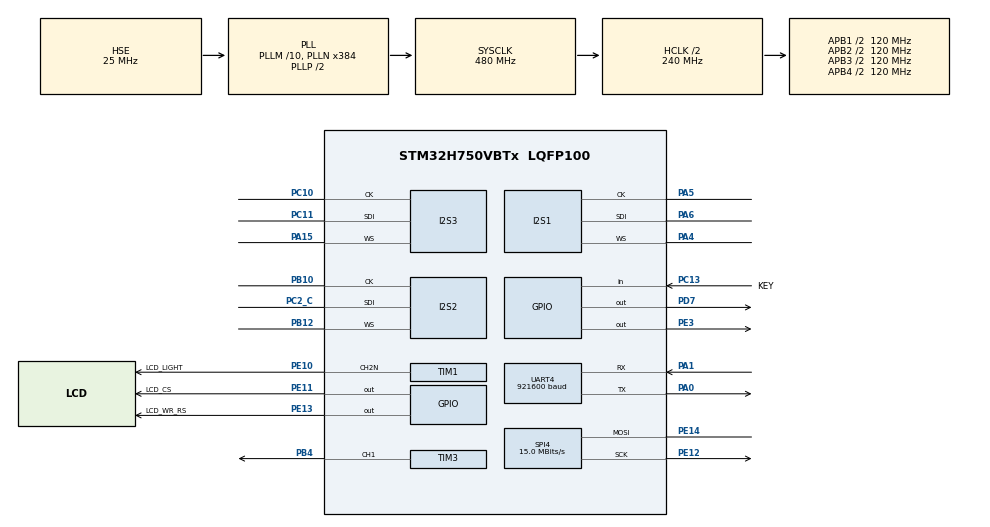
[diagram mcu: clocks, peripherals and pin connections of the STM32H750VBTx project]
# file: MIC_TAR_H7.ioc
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Dma.Request0=SPI1_RX
Dma.Request1=SPI2_RX
Dma.Request2=SPI3_RX
Dma.SPI1_RX.0.Direction=DMA_PERIPH_TO_MEMORY
Dma.SPI1_RX.0.EventEnable=DISABLE
Dma.SPI1_RX.0.FIFOMode=DMA_FIFOMODE_ENABLE
Dma.SPI1_RX.0.FIFOThreshold=DMA_FIFO_THRESHOLD_FULL
Dma.SPI1_RX.0.Instance=DMA1_Stream0
Dma.SPI1_RX.0.MemBurst=DMA_MBURST_SINGLE
Dma.SPI1_RX.0.MemDataAlignment=DMA_MDATAALIGN_WORD
Dma.SPI1_RX.0.MemInc=DMA_MINC_ENABLE
Dma.SPI1_RX.0.Mode=DMA_CIRCULAR
Dma.SPI1_RX.0.PeriphBurst=DMA_PBURST_SINGLE
Dma.SPI1_RX.0.PeriphDataAlignment=DMA_PDATAALIGN_WORD
Dma.SPI1_RX.0.PeriphInc=DMA_PINC_DISABLE
Dma.SPI1_RX.0.Polarity=HAL_DMAMUX_REQ_GEN_RISING
Dma.SPI1_RX.0.Priority=DMA_PRIORITY_VERY_HIGH
Dma.SPI1_RX.0.RequestNumber=1
Dma.SPI1_RX.0.SignalID=NONE
Dma.SPI1_RX.0.SyncEnable=DISABLE
Dma.SPI1_RX.0.SyncPolarity=HAL_DMAMUX_SYNC_NO_EVENT
Dma.SPI1_RX.0.SyncRequestNumber=1
Dma.SPI1_RX.0.SyncSignalID=NONE
Dma.SPI2_RX.1.Direction=DMA_PERIPH_TO_MEMORY
Dma.SPI2_RX.1.EventEnable=DISABLE
Dma.SPI2_RX.1.FIFOMode=DMA_FIFOMODE_ENABLE
Dma.SPI2_RX.1.FIFOThreshold=DMA_FIFO_THRESHOLD_FULL
Dma.SPI2_RX.1.Instance=DMA1_Stream1
Dma.SPI2_RX.1.MemBurst=DMA_MBURST_SINGLE
Dma.SPI2_RX.1.MemDataAlignment=DMA_MDATAALIGN_WORD
Dma.SPI2_RX.1.MemInc=DMA_MINC_ENABLE
Dma.SPI2_RX.1.Mode=DMA_CIRCULAR
Dma.SPI2_RX.1.PeriphBurst=DMA_PBURST_SINGLE
Dma.SPI2_RX.1.PeriphDataAlignment=DMA_PDATAALIGN_WORD
Dma.SPI2_RX.1.PeriphInc=DMA_PINC_DISABLE
Dma.SPI2_RX.1.Polarity=HAL_DMAMUX_REQ_GEN_RISING
Dma.SPI2_RX.1.Priority=DMA_PRIORITY_VERY_HIGH
Dma.SPI2_RX.1.RequestNumber=1
Dma.SPI2_RX.1.SignalID=NONE
Dma.SPI2_RX.1.SyncEnable=DISABLE
Dma.SPI2_RX.1.SyncPolarity=HAL_DMAMUX_SYNC_NO_EVENT
Dma.SPI2_RX.1.SyncRequestNumber=1
Dma.SPI2_RX.1.SyncSignalID=NONE
Dma.SPI3_RX.2.Direction=DMA_PERIPH_TO_MEMORY
Dma.SPI3_RX.2.EventEnable=DISABLE
Dma.SPI3_RX.2.FIFOMode=DMA_FIFOMODE_ENABLE
Dma.SPI3_RX.2.FIFOThreshold=DMA_FIFO_THRESHOLD_FULL
Dma.SPI3_RX.2.Instance=DMA1_Stream2
Dma.SPI3_RX.2.MemBurst=DMA_MBURST_SINGLE
Dma.SPI3_RX.2.MemDataAlignment=DMA_MDATAALIGN_WORD
Dma.SPI3_RX.2.MemInc=DMA_MINC_ENABLE
Dma.SPI3_RX.2.Mode=DMA_CIRCULAR
Dma.SPI3_RX.2.PeriphBurst=DMA_PBURST_SINGLE
Dma.SPI3_RX.2.PeriphDataAlignment=DMA_PDATAALIGN_WORD
Dma.SPI3_RX.2.PeriphInc=DMA_PINC_DISABLE
Dma.SPI3_RX.2.Polarity=HAL_DMAMUX_REQ_GEN_RISING
Dma.SPI3_RX.2.Priority=DMA_PRIORITY_VERY_HIGH
Dma.SPI3_RX.2.RequestNumber=1
Dma.SPI3_RX.2.SignalID=NONE
Dma.SPI3_RX.2.SyncEnable=DISABLE
Dma.SPI3_RX.2.SyncPolarity=HAL_DMAMUX_SYNC_NO_EVENT
Dma.SPI3_RX.2.SyncRequestNumber=1
Dma.SPI3_RX.2.SyncSignalID=NONE
I2S1.AudioFreq=I2S_AUDIOFREQ_16K
I2S1.Data24BitAlignment=I2S_DATA_24BIT_ALIGNMENT_RIGHT
I2S1.DataFormat=I2S_DATAFORMAT_24B
I2S1.ErrorAudioFreq=0.15 %
I2S1.Instance=SPI$Index
I2S1.MasterKeepIOState=I2S_MASTER_KEEP_IO_STATE_ENABLE
I2S1.RealAudioFreq=16.025 KHz
I2S1.Standard=I2S_STANDARD_PHILIPS
I2S2.AudioFreq=I2S_AUDIOFREQ_16K
I2S2.DataFormat=I2S_DATAFORMAT_24B
I2S2.ErrorAudioFreq=0.15 %
I2S2.Instance=SPI$Index
I2S2.MasterKeepIOState=I2S_MASTER_KEEP_IO_STATE_ENABLE
I2S2.RealAudioFreq=16.025 KHz
I2S3.AudioFreq=I2S_AUDIOFREQ_16K
I2S3.DataFormat=I2S_DATAFORMAT_24B
I2S3.ErrorAudioFreq=0.15 %
I2S3.Instance=SPI$Index
I2S3.MasterKeepIOState=I2S_MASTER_KEEP_IO_STATE_ENABLE
I2S3.RealAudioFreq=16.025 KHz
Mcu.Family=STM32H7
Mcu.Name=STM32H750VBTx
Mcu.Package=LQFP100
NVIC.DMA1_Stream0_IRQn=true\:2\:0\:true\:false\:true\:false\:true\:true
NVIC.DMA1_Stream1_IRQn=true\:2\:0\:true\:false\:true\:false\:true\:true
NVIC.DMA1_Stream2_IRQn=true\:2\:0\:true\:false\:true\:false\:true\:true
NVIC.PriorityGroup=NVIC_PRIORITYGROUP_3
NVIC.SPI1_IRQn=true\:1\:0\:true\:false\:true\:true\:true\:true
NVIC.SPI2_IRQn=true\:1\:0\:true\:false\:true\:true\:true\:true
NVIC.SPI3_IRQn=true\:1\:0\:true\:false\:true\:true\:true\:true
PA0.Mode=Asynchronous
PA0.Signal=UART4_TX
PA1.Mode=Asynchronous
PA1.Signal=UART4_RX
PA13\ (JTMS/SWDIO).Mode=Serial_Wire
PA13\ (JTMS/SWDIO).Signal=DEBUG_JTMS-SWDIO
PA14\ (JTCK/SWCLK).Mode=Serial_Wire
PA14\ (JTCK/SWCLK).Signal=DEBUG_JTCK-SWCLK
PA15\ (JTDI).GPIO_Speed=GPIO_SPEED_FREQ_VERY_HIGH
PA15\ (JTDI).Mode=Half_Duplex_Master_Rx
PA15\ (JTDI).Signal=I2S3_WS
PA4.GPIO_Speed=GPIO_SPEED_FREQ_VERY_HIGH
PA4.Mode=Half_Duplex_Master_Rx
PA4.Signal=I2S1_WS
PA5.GPIO_Mode=GPIO_MODE_AF_PP
PA5.GPIO_Speed=GPIO_SPEED_FREQ_VERY_HIGH
PA5.Mode=Half_Duplex_Master_Rx
PA5.Signal=I2S1_CK
PA6.GPIO_PuPd=GPIO_PULLDOWN
PA6.GPIO_Speed=GPIO_SPEED_FREQ_VERY_HIGH
PA6.Mode=Half_Duplex_Master_Rx
PA6.Signal=I2S1_SDI
PB10.GPIO_Speed=GPIO_SPEED_FREQ_VERY_HIGH
PB10.Mode=Half_Duplex_Master_Rx
PB10.Signal=I2S2_CK
PB12.GPIO_Speed=GPIO_SPEED_FREQ_VERY_HIGH
PB12.Mode=Half_Duplex_Master_Rx
PB12.Signal=I2S2_WS
PB4\ (NJTRST).Signal=S_TIM3_CH1
PC10.GPIO_Speed=GPIO_SPEED_FREQ_VERY_HIGH
PC10.Mode=Half_Duplex_Master_Rx
PC10.Signal=I2S3_CK
PC11.GPIO_PuPd=GPIO_PULLDOWN
PC11.GPIO_Speed=GPIO_SPEED_FREQ_VERY_HIGH
PC11.Mode=Half_Duplex_Master_Rx
PC11.Signal=I2S3_SDI
PC13.GPIO_Label=KEY
PC13.GPIO_PuPd=GPIO_PULLDOWN
PC13.Signal=GPIO_Input
PC14-OSC32_IN\ (OSC32_IN).Mode=LSE-External-Oscillator
PC14-OSC32_IN\ (OSC32_IN).Signal=RCC_OSC32_IN
PC15-OSC32_OUT\ (OSC32_OUT).Mode=LSE-External-Oscillator
PC15-OSC32_OUT\ (OSC32_OUT).Signal=RCC_OSC32_OUT
PC2_C.GPIO_PuPd=GPIO_PULLDOWN
PC2_C.GPIO_Speed=GPIO_SPEED_FREQ_VERY_HIGH
PC2_C.Mode=Half_Duplex_Master_Rx
PC2_C.Signal=I2S2_SDI
PD7.Signal=GPIO_Output
PE10.GPIO_Label=LCD_LIGHT
PE10.Mode=PWM Generation2 CH2N
PE10.Signal=TIM1_CH2N
PE11.GPIO_Label=LCD_CS
PE11.GPIO_Speed=GPIO_SPEED_FREQ_VERY_HIGH
PE11.PinState=GPIO_PIN_SET
PE11.Signal=GPIO_Output
PE12.Mode=Simplex_Bidirectional_Master
PE12.Signal=SPI4_SCK
PE13.GPIO_Label=LCD_WR_RS
PE13.GPIO_Speed=GPIO_SPEED_FREQ_VERY_HIGH
PE13.PinState=GPIO_PIN_SET
PE13.Signal=GPIO_Output
PE14.Mode=Simplex_Bidirectional_Master
PE14.Signal=SPI4_MOSI
PE3.Signal=GPIO_Output
PH0-OSC_IN\ (PH0).Mode=HSE-External-Oscillator
PH0-OSC_IN\ (PH0).Signal=RCC_OSC_IN
PH1-OSC_OUT\ (PH1).Mode=HSE-External-Oscillator
PH1-OSC_OUT\ (PH1).Signal=RCC_OSC_OUT
ProjectManager.HeapSize=0x200
ProjectManager.StackSize=0x400
ProjectManager.TargetToolchain=STM32CubeIDE
RCC.ADCFreq_Value=160000000
RCC.APB1Freq_Value=120000000
RCC.APB2Freq_Value=120000000
RCC.APB3Freq_Value=120000000
RCC.APB4Freq_Value=120000000
RCC.CortexFreq_Value=480000000
RCC.D1PPRE=RCC_APB3_DIV2
RCC.D2PPRE1=RCC_APB1_DIV2
RCC.D2PPRE2=RCC_APB2_DIV2
RCC.D3PPRE=RCC_APB4_DIV2
RCC.DIVM1=10
RCC.DIVM2=10
RCC.DIVM3=5
RCC.DIVN1=384
RCC.DIVN2=128
RCC.DIVN3=64
RCC.DIVQ1=5
RCC.DIVR3=5
RCC.EnbaleCSS=true
RCC.HCLKFreq_Value=240000000
RCC.HPRE=RCC_HCLK_DIV2
RCC.LPTIM1CLockSelection=RCC_LPTIM1CLKSOURCE_CLKP
RCC.PLL1_VCO_SEL=RCC_PLL1VCOWIDE
RCC.PLL1_VCO_SEL-AdvancedSettings=RCC_PLL1VCOMEDIUM
RCC.PLL2FRACN=0
RCC.PLL3FRACN=0
RCC.PLL3_VCI_Range-AdvancedSettings=RCC_PLL3VCIRANGE_0
RCC.PLLFRACN=0
RCC.PLLSourceVirtual=RCC_PLLSOURCE_HSE
RCC.SPI123CLockSelection=RCC_SPI123CLKSOURCE_PLL2
RCC.SYSCLKFreq_VALUE=480000000
RCC.SYSCLKSource=RCC_SYSCLKSOURCE_PLLCLK
RCC.USBFreq_Value=192000000
SH.S_TIM3_CH1.0=TIM3_CH1,PWM Generation1 CH1
SPI4.BaudRatePrescaler=SPI_BAUDRATEPRESCALER_8
SPI4.CalculateBaudRate=15.0 MBits/s
SPI4.DataSize=SPI_DATASIZE_8BIT
SPI4.Direction=SPI_DIRECTION_1LINE
SPI4.Mode=SPI_MODE_MASTER
SPI4.VirtualType=VM_MASTER
TIM1.Channel-PWM\ Generation2\ CH2N=TIM_CHANNEL_2
TIM1.OCNPolarity_2=TIM_OCNPOLARITY_LOW
TIM1.Period=1000-1
TIM1.Prescaler=24-1
TIM3.AutoReloadPreload=TIM_AUTORELOAD_PRELOAD_ENABLE
TIM3.Channel-PWM\ Generation1\ CH1=TIM_CHANNEL_1
TIM3.Period=5000-1
TIM3.Prescaler=240-1
TIM3.Pulse-PWM\ Generation1\ CH1=2500-1
UART4.BaudRate=921600
UART4.Mode=MODE_TX_RX
VP_TIM1_VS_ClockSourceINT.Mode=Internal
VP_TIM3_VS_ClockSourceINT.Mode=Internal
board=custom

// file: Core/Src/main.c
/* USER CODE BEGIN Header */
/**
  ******************************************************************************
  * @file           : main.c
  * @brief          : Main program body
  ******************************************************************************
  * @attention
  *
  * Copyright (c) 2022 STMicroelectronics.
  * All rights reserved.
  *
  * This software is licensed under terms that can be found in the LICENSE file
  * in the root directory of this software component.
  * If no LICENSE file comes with this software, it is provided AS-IS.
  *
  ******************************************************************************
  */
/* USER CODE END Header */
#include "main.h"
#include "dma.h"
#include "i2s.h"
#include "spi.h"
#include "tim.h"
#include "usart.h"
#include "gpio.h"

/* USER CODE BEGIN Includes */
#include "lcd.h"
/* USER CODE END Includes */

/* USER CODE BEGIN PD */
#define MAX_DATA_NUM 32

/* USER CODE END PD */

/* USER CODE BEGIN PV */
  uint32_t hi2s1_Data[2]={0};
  uint32_t hi2s2_Data[2]={0};
  uint32_t hi2s3_Data[2]={0};

  int32_t hi2s_Data_s[6][32]={0};

  uint8_t Times[3]={0};
  float_t Servo=90.0;

/* USER CODE END PV */

void SystemClock_Config(void);
void PeriphCommonClock_Config(void);

/* USER CODE BEGIN 0 */
/*
 * 重写printf
 */
#ifdef __GNUC__
#define PUTCHAR_PROTOTYPE int __io_putchar(int ch)
#else
#define PUTCHAR_PROTOTYPE int fputc(int ch, FILE *f)
#endif

PUTCHAR_PROTOTYPE
{
	HAL_UART_Transmit(&huart4, (uint8_t*)&ch,1,HAL_MAX_DELAY);
    return ch;
}
/*
 * 重写printf
 */

void HAL_I2S_RxCpltCallback(I2S_HandleTypeDef *hi2s)
{

	if(hi2s==&hi2s1){
		//10 0
		//11 1
		if(hi2s1_Data[0] & 0x800000){//negative
			hi2s_Data_s[0][Times[0]]=(0xff000000 | hi2s1_Data[0]);
		}else{//positive
			hi2s_Data_s[0][Times[0]]=0x00ffffff & hi2s1_Data[0];
		}

		if(hi2s1_Data[1] & 0x800000){//negative
			hi2s_Data_s[1][Times[0]]=0xff000000 | hi2s1_Data[1];
		}else{//positive
			hi2s_Data_s[1][Times[0]]=0x00ffffff & hi2s1_Data[1];
		}
		printf("%d",&hi2s_Data_s[1][Times[0]]);
		Times[0]++;
		}

	else if(hi2s==&hi2s2){
		//10 0
		//11 1
		if(hi2s2_Data[0] & 0x800000){//negative
			hi2s_Data_s[2][Times[1]]=0xff000000 | hi2s2_Data[0];
		}else{//positive
			hi2s_Data_s[2][Times[1]]=0x00ffffff & hi2s2_Data[0];
		}

		if(hi2s2_Data[1] & 0x800000){//negative
			hi2s_Data_s[3][Times[1]]=0xff000000 | hi2s2_Data[1];
		}else{//positive
			hi2s_Data_s[3][Times[1]]=0x00ffffff & hi2s2_Data[1];
		}
		printf("%d",&hi2s_Data_s[2][Times[1]]);
		Times[1]++;
		}

	else if(hi2s==&hi2s3){
		//10 0
		//11 1
		if(hi2s3_Data[0] & 0x800000){//negative
			hi2s_Data_s[4][Times[2]]=0xff000000 | hi2s3_Data[0];
		}else{//positive
			hi2s_Data_s[4][Times[2]]=0x00ffffff & hi2s3_Data[0];
		}

		if(hi2s3_Data[1] & 0x800000){//negative
			hi2s_Data_s[5][Times[2]]=0xff000000 | hi2s3_Data[1];
		}else{//positive
			hi2s_Data_s[5][Times[2]]=0x00ffffff & hi2s3_Data[1];
		}
		printf("%d,%d\r\n",&hi2s_Data_s[4][Times[2]],&hi2s_Data_s[5][Times[2]]);

		Times[2]++;
		}

	if((Times[0]==MAX_DATA_NUM)&&(Times[1]==MAX_DATA_NUM)&&(Times[2]==MAX_DATA_NUM))
	{
		HAL_GPIO_TogglePin(GPIOE, GPIO_PIN_3);
		Times[0]=0;
		Times[1]=0;
		Times[2]=0;

	}

}

void Servo_con(float_t angel)
{
	if(angel<=180&&angel>=0)
	{
		TIM3->CCR1=500+angel/180.0*2000.0;
	}

}
/* USER CODE END 0 */

int main(void)
{

  /* MCU Configuration--------------------------------------------------------*/

  /* Reset of all peripherals, Initializes the Flash interface and the Systick. */
  HAL_Init();

  /* Configure the system clock */
  SystemClock_Config();

/* Configure the peripherals common clocks */
  PeriphCommonClock_Config();

  /* Initialize all configured peripherals */
  MX_GPIO_Init();
  MX_SPI4_Init();
  MX_DMA_Init();
  MX_I2S1_Init();
  MX_I2S2_Init();
  MX_TIM1_Init();
  MX_TIM3_Init();
  MX_UART4_Init();
  MX_I2S3_Init();
  /* USER CODE BEGIN 2 */
  HAL_TIM_PWM_Start(&htim3,TIM_CHANNEL_1);

  uint32_t PWM=TIM3->CCR1;
  uint8_t  Pos_Neg=1;

  /* USER CODE END 2 */

  /* Infinite loop */
  /* USER CODE BEGIN WHILE */
  LCD_Test();
//  uint8_t text[20]={0};

  HAL_I2S_Receive_DMA(&hi2s1, (uint16_t*)hi2s1_Data,&hi2s2, (uint16_t*)hi2s2_Data,&hi2s3, (uint16_t*)hi2s3_Data,MAX_DATA_NUM);
  uint32_t tick = HAL_GetTick();
  while (1)
  {
    /* USER CODE END WHILE */

    /* USER CODE BEGIN 3 */

	  if(HAL_GPIO_ReadPin(KEY_GPIO_Port, KEY_Pin) == GPIO_PIN_SET)
		{
			HAL_GPIO_TogglePin(GPIOD, GPIO_PIN_7);
		}
//		while (HAL_GPIO_ReadPin(KEY_GPIO_Port, KEY_Pin) == GPIO_PIN_SET)
//		{
//			delay_ms(10);
//		}

	  Servo_con(Servo);

//		sprintf((char *)&text, "%8d", hi2s1_Data[0]);
//		LCD_ShowString(4, 58, 256, 16, 16, text);
//		printf("%lu,%lu\r\n",hi2s1_Data[0],hi2s1_Data[1]);

  }
  /* USER CODE END 3 */
}

void SystemClock_Config(void)
{
  RCC_OscInitTypeDef RCC_OscInitStruct = {0};
  RCC_ClkInitTypeDef RCC_ClkInitStruct = {0};

  /** Supply configuration update enable
  */
  HAL_PWREx_ConfigSupply(PWR_LDO_SUPPLY);

  /** Configure the main internal regulator output voltage
  */
  __HAL_PWR_VOLTAGESCALING_CONFIG(PWR_REGULATOR_VOLTAGE_SCALE1);

  while(!__HAL_PWR_GET_FLAG(PWR_FLAG_VOSRDY)) {}

  __HAL_RCC_SYSCFG_CLK_ENABLE();
  __HAL_PWR_VOLTAGESCALING_CONFIG(PWR_REGULATOR_VOLTAGE_SCALE0);

  while(!__HAL_PWR_GET_FLAG(PWR_FLAG_VOSRDY)) {}

  /** Macro to configure the PLL clock source
  */
  __HAL_RCC_PLL_PLLSOURCE_CONFIG(RCC_PLLSOURCE_HSE);

  /** Initializes the RCC Oscillators according to the specified parameters
  * in the RCC_OscInitTypeDef structure.
  */
  RCC_OscInitStruct.OscillatorType = RCC_OSCILLATORTYPE_HSE;
  RCC_OscInitStruct.HSEState = RCC_HSE_ON;
  RCC_OscInitStruct.PLL.PLLState = RCC_PLL_ON;
  RCC_OscInitStruct.PLL.PLLSource = RCC_PLLSOURCE_HSE;
  RCC_OscInitStruct.PLL.PLLM = 10;
  RCC_OscInitStruct.PLL.PLLN = 384;
  RCC_OscInitStruct.PLL.PLLP = 2;
  RCC_OscInitStruct.PLL.PLLQ = 5;
  RCC_OscInitStruct.PLL.PLLR = 2;
  RCC_OscInitStruct.PLL.PLLRGE = RCC_PLL1VCIRANGE_1;
  RCC_OscInitStruct.PLL.PLLVCOSEL = RCC_PLL1VCOWIDE;
  RCC_OscInitStruct.PLL.PLLFRACN = 0;
  if (HAL_RCC_OscConfig(&RCC_OscInitStruct) != HAL_OK)
  {
    Error_Handler();
  }

  /** Initializes the CPU, AHB and APB buses clocks
  */
  RCC_ClkInitStruct.ClockType = RCC_CLOCKTYPE_HCLK|RCC_CLOCKTYPE_SYSCLK
                              |RCC_CLOCKTYPE_PCLK1|RCC_CLOCKTYPE_PCLK2
                              |RCC_CLOCKTYPE_D3PCLK1|RCC_CLOCKTYPE_D1PCLK1;
  RCC_ClkInitStruct.SYSCLKSource = RCC_SYSCLKSOURCE_PLLCLK;
  RCC_ClkInitStruct.SYSCLKDivider = RCC_SYSCLK_DIV1;
  RCC_ClkInitStruct.AHBCLKDivider = RCC_HCLK_DIV2;
  RCC_ClkInitStruct.APB3CLKDivider = RCC_APB3_DIV2;
  RCC_ClkInitStruct.APB1CLKDivider = RCC_APB1_DIV2;
  RCC_ClkInitStruct.APB2CLKDivider = RCC_APB2_DIV2;
  RCC_ClkInitStruct.APB4CLKDivider = RCC_APB4_DIV2;

  if (HAL_RCC_ClockConfig(&RCC_ClkInitStruct, FLASH_LATENCY_4) != HAL_OK)
  {
    Error_Handler();
  }

  /** Enables the Clock Security System
  */
  HAL_RCC_EnableCSS();
}

void PeriphCommonClock_Config(void)
{
  RCC_PeriphCLKInitTypeDef PeriphClkInitStruct = {0};

  /** Initializes the peripherals clock
  */
  PeriphClkInitStruct.PeriphClockSelection = RCC_PERIPHCLK_SPI3|RCC_PERIPHCLK_SPI2
                              |RCC_PERIPHCLK_SPI1;
  PeriphClkInitStruct.PLL2.PLL2M = 10;
  PeriphClkInitStruct.PLL2.PLL2N = 128;
  PeriphClkInitStruct.PLL2.PLL2P = 2;
  PeriphClkInitStruct.PLL2.PLL2Q = 2;
  PeriphClkInitStruct.PLL2.PLL2R = 2;
  PeriphClkInitStruct.PLL2.PLL2RGE = RCC_PLL2VCIRANGE_1;
  PeriphClkInitStruct.PLL2.PLL2VCOSEL = RCC_PLL2VCOWIDE;
  PeriphClkInitStruct.PLL2.PLL2FRACN = 0;
  PeriphClkInitStruct.Spi123ClockSelection = RCC_SPI123CLKSOURCE_PLL2;
  if (HAL_RCCEx_PeriphCLKConfig(&PeriphClkInitStruct) != HAL_OK)
  {
    Error_Handler();
  }
}

void Error_Handler(void)
{
  __disable_irq();
  while (1)
  {
  }
}
